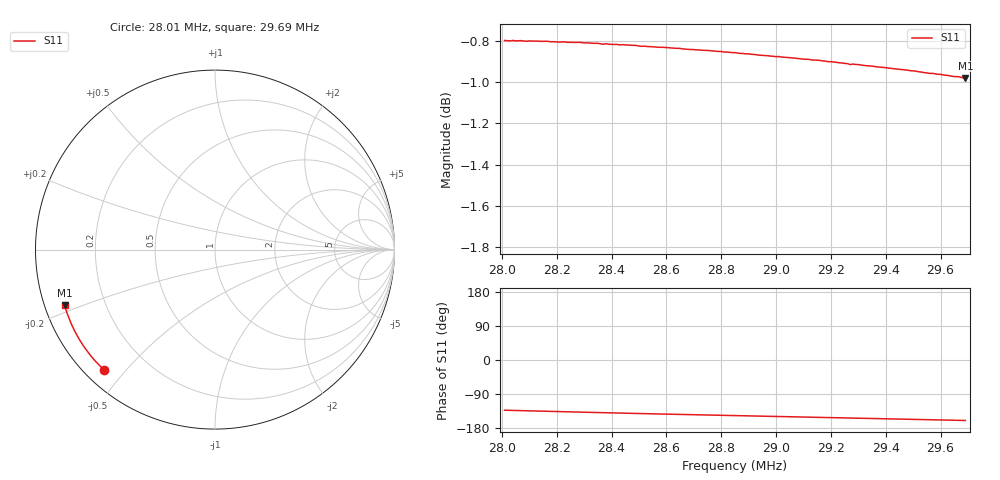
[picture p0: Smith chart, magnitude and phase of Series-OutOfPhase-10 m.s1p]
# HZ S RI R 50
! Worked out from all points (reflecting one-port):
!   169 points, 28.01 MHz to 29.69 MHz, reference 50 ohm
!   lowest |S11| = -1.0 dB at 29.69 MHz (marker M1), VSWR 17.76, Z = 2.91 - j8.96 ohm
!   phase of S11 starts at -132 deg and turns -27 deg over the sweep
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2.801e7  -0.6163 -0.6727
2.805002e7  -0.6248 -0.6645
2.807002e7  -0.6296 -0.6602
2.808003e7  -0.6313 -0.6582
2.813005e7  -0.6422 -0.6476
2.822008e7  -0.6601 -0.6287
2.831012e7  -0.6771 -0.6097
2.838015e7  -0.6895 -0.5949
2.843017e7  -0.6979 -0.5842
2.844017e7  -0.6997 -0.5821
2.85202e7  -0.7125 -0.5652
2.858023e7  -0.7217 -0.5524
2.859023e7  -0.7231 -0.5505
2.864025e7  -0.7307 -0.5396
2.87503e7  -0.7461 -0.5162
2.885034e7  -0.7592 -0.4947
2.891036e7  -0.7665 -0.4818
2.892036e7  -0.7676 -0.4799
2.90104e7  -0.7783 -0.4603
2.906042e7  -0.7837 -0.4495
2.916046e7  -0.7943 -0.4279
2.92605e7  -0.8039 -0.406
2.92705e7  -0.8045 -0.4037
2.928051e7  -0.8058 -0.4017
2.934053e7  -0.8112 -0.3886
2.948059e7  -0.8228 -0.3579
2.960064e7  -0.8316 -0.3314
2.969067e7  -0.8374 -0.3112
